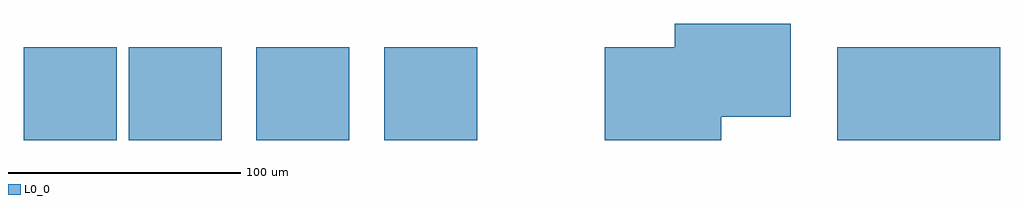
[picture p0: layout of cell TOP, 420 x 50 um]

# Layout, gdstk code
import gdstk
lib = gdstk.Library(unit=1e-6, precision=1e-09)
def R(c, l, rs):  # rectangles x0, y0, x1, y1
    for r in rs: c.add(gdstk.rectangle(r[:2], r[2:], *l))
def A(c, l, x, y, w, h, nx, ny, dx, dy):  # array of equal rectangles
    R(c, l, [(x+i*dx, y+j*dy, x+i*dx+w, y+j*dy+h) for i in range(nx) for j in range(ny)])
L0_0 = (0, 0)

top = lib.new_cell('TOP')
A(top, L0_0, 45, 0, 40, 40, 3, 1, 55, 0)
R(top, L0_0, [(0,0,40,40), (250,0,300,40), (350,0,400,40), (370,0,420,40), (280,10,330,50)])

lib.write_gds('TOP.gds')
